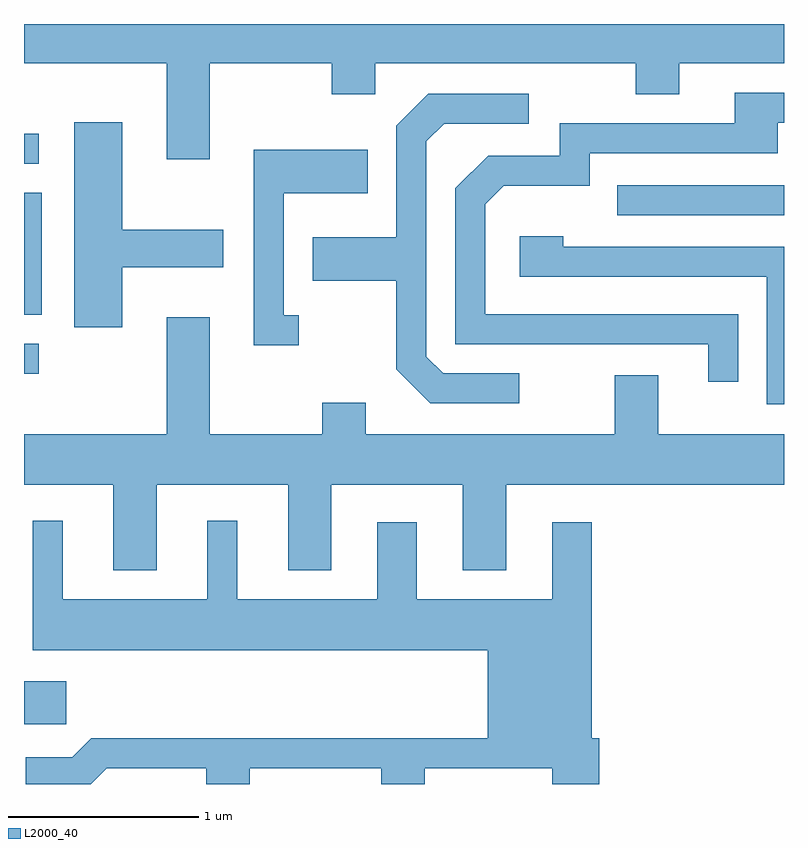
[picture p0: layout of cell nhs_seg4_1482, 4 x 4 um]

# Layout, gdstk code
import gdstk
lib = gdstk.Library(unit=1e-6, precision=1e-09)
def R(c, l, rs):  # rectangles x0, y0, x1, y1
    for r in rs: c.add(gdstk.rectangle(r[:2], r[2:], *l))
def P(c, l, *ps):  # polygons
    for p in ps: c.add(gdstk.Polygon(p, *l))
L2000_40 = (2000, 40)

nhs_seg4_1482 = lib.new_cell('nhs_seg4_1482')
R(nhs_seg4_1482, L2000_40, [(227.611,1362.296,227.834,1362.524), (227.611,1364.141,227.688,1364.299), (227.611,1364.451,227.704,1365.094), (230.733,1364.976,231.611,1365.134), (227.611,1365.246,227.688,1365.404)])
P(nhs_seg4_1482, L2000_40, [(228.589,1365.776),(229.231,1365.776),(229.231,1365.611),(229.459,1365.611),(229.459,1365.776),(230.831,1365.776),(230.831,1365.611),(231.059,1365.611),(231.059,1365.776),(231.611,1365.776),(231.611,1365.982),(227.611,1365.982),(227.611,1365.776),(228.361,1365.776),(228.361,1365.271),(228.589,1365.271)],
  [(231.369,1364.454),(230.039,1364.454),(230.039,1365.034),(230.137,1365.131),(230.589,1365.131),(230.589,1365.301),(231.579,1365.301),(231.579,1365.461),(231.611,1365.461),(231.611,1365.619),(231.351,1365.619),(231.351,1365.459),(230.431,1365.459),(230.431,1365.289),(230.054,1365.289),(229.881,1365.117),(229.881,1364.296),(231.211,1364.296),(231.211,1364.098),(231.369,1364.098)],
  [(230.218,1364.144),(229.817,1364.144),(229.729,1364.232),(229.729,1365.364),(229.822,1365.456),(230.268,1365.456),(230.268,1365.614),(229.739,1365.614),(229.571,1365.447),(229.571,1364.859),(229.131,1364.859),(229.131,1364.631),(229.571,1364.631),(229.571,1364.164),(229.749,1363.986),(230.218,1363.986)],
  [(228.129,1364.701),(228.659,1364.701),(228.659,1364.899),(228.129,1364.899),(228.129,1365.464),(227.876,1365.464),(227.876,1364.386),(228.129,1364.386)],
  [(229.058,1364.449),(228.979,1364.449),(228.979,1365.091),(229.419,1365.091),(229.419,1365.319),(228.821,1365.319),(228.821,1364.291),(229.058,1364.291)],
  [(231.611,1364.809),(230.449,1364.809),(230.449,1364.864),(230.221,1364.864),(230.221,1364.651),(231.521,1364.651),(231.521,1363.981),(231.611,1363.981)],
  [(228.309,1363.556),(229.001,1363.556),(229.001,1363.106),(229.229,1363.106),(229.229,1363.556),(229.921,1363.556),(229.921,1363.106),(230.149,1363.106),(230.149,1363.556),(231.611,1363.556),(231.611,1363.824),(230.949,1363.824),(230.949,1364.134),(230.721,1364.134),(230.721,1363.824),(229.409,1363.824),(229.409,1363.989),(229.181,1363.989),(229.181,1363.824),(228.589,1363.824),(228.589,1364.439),(228.361,1364.439),(228.361,1363.824),(227.611,1363.824),(227.611,1363.556),(228.081,1363.556),(228.081,1363.106),(228.309,1363.106)],
  [(228.047,1362.066),(228.571,1362.066),(228.571,1361.982),(228.799,1361.982),(228.799,1362.066),(229.491,1362.066),(229.491,1361.982),(229.719,1361.982),(229.719,1362.066),(230.391,1362.066),(230.391,1361.982),(230.639,1361.982),(230.639,1362.224),(230.599,1362.224),(230.599,1363.359),(230.391,1363.359),(230.391,1362.954),(229.679,1362.954),(229.679,1363.359),(229.471,1363.359),(229.471,1362.954),(228.734,1362.954),(228.734,1363.368),(228.576,1363.368),(228.576,1362.954),(227.814,1362.954),(227.814,1363.368),(227.656,1363.368),(227.656,1362.686),(230.051,1362.686),(230.051,1362.224),(227.964,1362.224),(227.864,1362.124),(227.621,1362.124),(227.621,1361.982),(227.963,1361.982)])

lib.write_gds('nhs_seg4_1482.gds')
